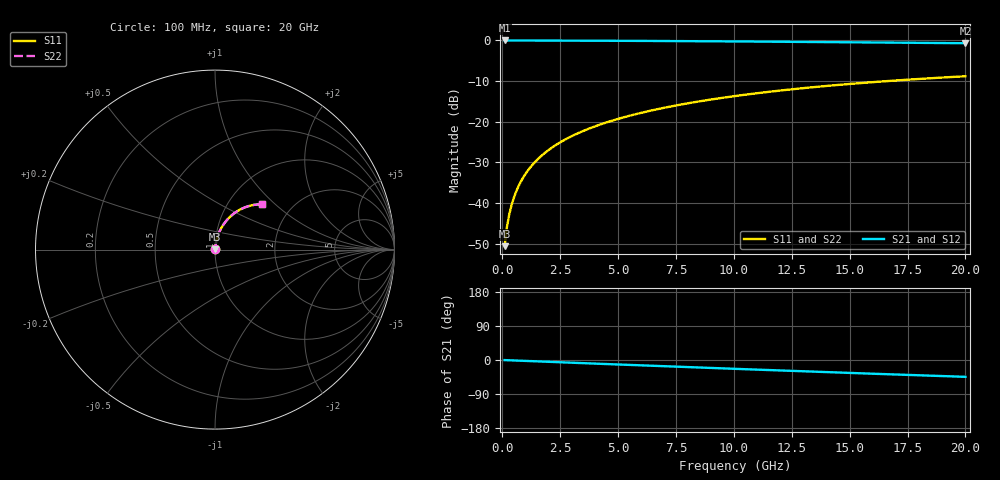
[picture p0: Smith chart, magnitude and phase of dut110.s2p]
! Touchstone file exported from HFSS 2026.1.0
!  File:  C:/ffzhzh/LocalFiles/Ansys_Project_Files/temp_train_TMRDL_110_1782982449_41620.aedt
!  Generated:  04:55:25 PM Jul  2, 2026
!  Design:  TMRDL
!  Project:  temp_train_TMRDL_110_1782982449_41620
! Variables:
!  h_bsmrdl = 2um
!  h_ox = 20um
!  h_rdl = 5um
!  h_sub = 80um
!  h_tmrdl = 5.74um
!  h_tsv = 80um
!  h_via = 3um
!  l_bsmrdl = 300um
!  l_sub = 1074.93um
!  l_tmrdl = 674.93um
!  m_sub = 200um
!  pitch = 59.59um
!  r_tsv = 6um
!  s_tmrdl = 10um
!  w_bsmrdl = 18um
!  w_sub = 500um
!  w_tmrdl = 29.73um
!  x_tsv_center1 = 689.795um
!  x_tsv_center2 = 1007.795um
!  x_tsv_center3 = 1712.455um
!  x_tsv_center4 = 2030.455um
!  x_tsv_center5 = 2735.115um
!  x_tsv_center6 = 3053.115um
# GHz S MA R 50.000000
! Terminal data exported
! Port[1] = TM_RDL1_1_T1
! Port[2] = TM_RDL1_1_T2
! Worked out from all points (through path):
!   200 points, 100 MHz to 20 GHz, reference 50 ohm
!   highest |S21| = -0.01 dB at 100 MHz (marker M1); lowest = -0.7 dB at 20 GHz (marker M2)
!   group delay of S21, straight-line fit = 6.17 ps
!   lowest |S11| = -50.6 dB at 100 MHz (marker M3), VSWR 1.01, Z = 50.2 + j0.245 ohm
!   |S11| at or under -10 dB: start of sweep to 16.65 GHz
!   |S22| runs from -50.6 to -8.8 dB; largest |S21 - S12| = 3.9e-15
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0.1  0.002939 56.4  0.9984 -0.3  0.9984 -0.3  0.002939 56.4
! Gamma 0 0 0 0
! Port Impedance 50 0 50 0
0.2  0.005057 69.1  0.9982 -0.5  0.9982 -0.5  0.005057 69.1
0.3  0.007214 74.4  0.9981 -0.7  0.9981 -0.7  0.007214 74.4
0.4  0.009398 77.3  0.998 -1.0  0.998 -1.0  0.009398 77.3
0.5  0.0116 79.1  0.998 -1.2  0.998 -1.2  0.0116 79.1
0.7  0.01604 81.0  0.9978 -1.7  0.9978 -1.7  0.01604 81.0
0.8  0.01827 81.5  0.9977 -1.9  0.9977 -1.9  0.01827 81.5
1  0.02273 82.0  0.9975 -2.4  0.9975 -2.4  0.02273 82.0
1.2  0.02718 82.2  0.9973 -2.9  0.9973 -2.9  0.02718 82.2
1.4  0.03161 82.2  0.997 -3.4  0.997 -3.4  0.03161 82.2
1.7  0.03823 81.9  0.9966 -4.1  0.9966 -4.1  0.03823 81.9
2  0.04481 81.5  0.9961 -4.8  0.9961 -4.8  0.04481 81.5
2.7  0.05996 80.2  0.9947 -6.5  0.9947 -6.5  0.05996 80.2
3.5  0.07699 78.6  0.993 -8.3  0.993 -8.3  0.07699 78.6
4.2  0.09166 77.2  0.9912 -10.0  0.9912 -10.0  0.09166 77.2
5  0.1082 75.5  0.9891 -11.8  0.9891 -11.8  0.1082 75.5
6.8  0.1445 71.7  0.9836 -16.0  0.9836 -16.0  0.1445 71.7
8.3  0.1738 68.5  0.9783 -19.4  0.9783 -19.4  0.1738 68.5
10.1  0.2076 64.6  0.9711 -23.4  0.9711 -23.4  0.2076 64.6
13.4  0.2654 57.6  0.9562 -30.7  0.9562 -30.7  0.2654 57.6
16.7  0.317 50.8  0.9399 -37.7  0.9399 -37.7  0.317 50.8
20  0.3622 44.2  0.9232 -44.4  0.9232 -44.4  0.3622 44.2
